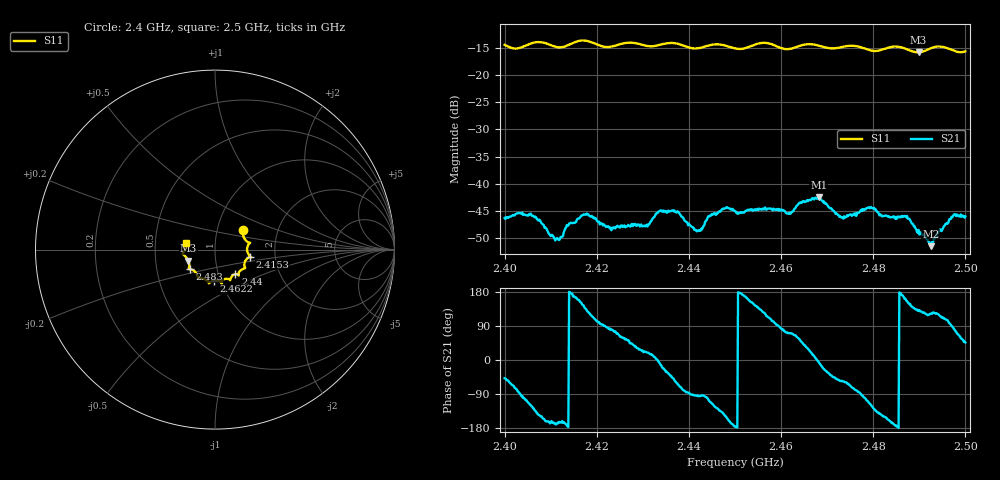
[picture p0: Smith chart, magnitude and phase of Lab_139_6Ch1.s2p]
# Hz S RI R 50
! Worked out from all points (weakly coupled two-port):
!   601 points, 2.4 GHz to 2.5 GHz, reference 50 ohm
!   highest |S21| = -42.47 dB at 2.4682 GHz (marker M1); lowest = -51.4 dB at 2.4925 GHz (marker M2)
!   lowest |S11| = -15.9 dB at 2.4898 GHz (marker M3), VSWR 1.38, Z = 36.8 - j4.6 ohm
!   |S11| at or under -10 dB: start of sweep to end of sweep
!   S12 and S22 are empty: the file has one direction only
!   S11 on the Smith chart (normalised r, x): 2.4 GHz: 1.33, +0.29; 2.4153 GHz: 1.48, -0.12; 2.44 GHz: 1.20, -0.34; 2.4622 GHz: 0.93, -0.33; 2.483 GHz: 0.74, -0.17; 2.5 GHz: 0.72, +0.06
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2.4e9  0.1552 0.1067  0.00324 -0.00363  0 0  0 0
2.405833e9  0.1909 0.0384  -0.00273 -0.00434  0 0  0 0
2.411333e9  0.1791 0.00921  -0.00312 -0.000664  0 0  0 0
2.415333e9  0.1964 -0.0385  -0.00427 0.00115  0 0  0 0
2.416667e9  0.202 -0.0424  -0.00448 0.0025  0 0  0 0
2.4235e9  0.1632 -0.082  0.000756 0.00384  0 0  0 0
2.430833e9  0.1445 -0.1143  0.00396 0.00146  0 0  0 0
2.433333e9  0.131 -0.1336  0.00553 -0.000346  0 0  0 0
2.44e9  0.1141 -0.1368  0.000285 -0.0043  0 0  0 0
2.442167e9  0.0946 -0.1482  -0.00032 -0.00375  0 0  0 0
2.445e9  0.0845 -0.1687  -0.00227 -0.0048  0 0  0 0
2.45e9  0.0644 -0.1627  -0.00563 -0.000539  0 0  0 0
2.462167e9  -0.00706 -0.1739  0.00185 0.00509  0 0  0 0
2.466667e9  -0.0342 -0.1877  0.00696 0.00224  0 0  0 0
2.468167e9  -0.0363 -0.1817  0.00749 -0.000731  0 0  0 0
2.473e9  -0.0799 -0.1604  0.00277 -0.0041  0 0  0 0
2.483e9  -0.1376 -0.1098  -0.00463 -0.00214  0 0  0 0
2.483333e9  -0.1402 -0.1095  -0.0047 -0.0019  0 0  0 0
2.489833e9  -0.1488 -0.0609  -0.00252 0.00282  0 0  0 0
2.4925e9  -0.1726 -0.0306  -0.00143 0.00227  0 0  0 0
2.497333e9  -0.1675 -0.00262  0.000369 0.00508  0 0  0 0
2.5e9  -0.1599 0.0392  0.00349 0.00364  0 0  0 0
